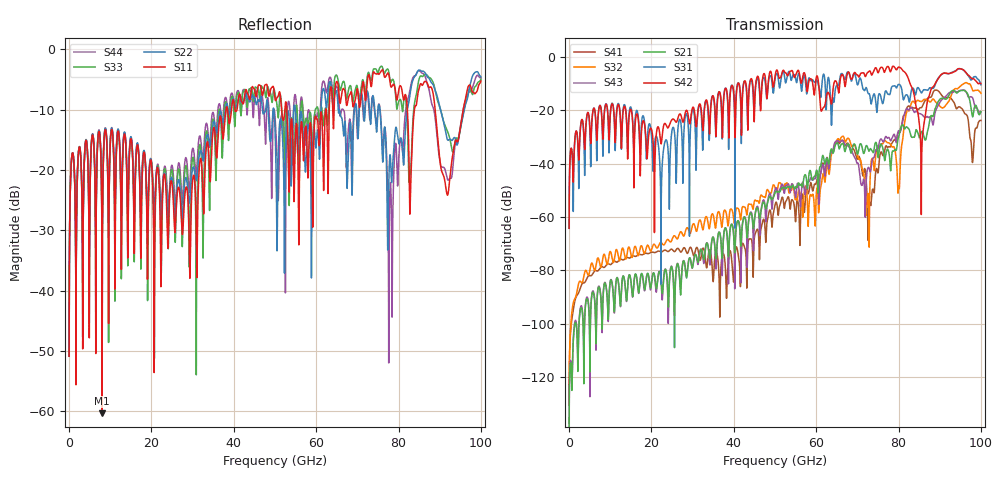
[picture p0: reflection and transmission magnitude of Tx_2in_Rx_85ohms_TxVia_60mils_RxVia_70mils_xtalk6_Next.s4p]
! Info: Touchstone file created by Circ.  Input file=Tx_2in_Rx_85ohms_TxVia_60mils_RxVia_70mils.circ
# Hz S RI R 50
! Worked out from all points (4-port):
!   10000 points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, 10 MHz to 100 GHz, reference 50 ohm
!   strongest paths, dB at 10 MHz, 25.01 GHz, 50.01 GHz, 75.01 GHz, 100 GHz:
!     S42: -64.2, -23.5, -7.3, -6.0, -10.0
!     S31: -64.2, -27.5, -8.3, -16.0, -10.4
!     S21: -139.2, -79.0, -50.9, -37.6, -20.5
!     S43: -137.2, -78.9, -49.8, -34.8, -20.8
!     S32: -130.3, -68.4, -48.9, -33.4, -13.7
!     S41: -130.3, -72.1, -55.5, -43.5, -23.8
!   lowest |S11| = -60.3 dB at 8.04 GHz (marker M1), VSWR 1.00, Z = 50.1 - j0.0372 ohm
!   |S11| at or under -10 dB: start of sweep to 38.1 GHz; 52.86 GHz to 62.29 GHz (9.435 GHz wide, 16.4 % of centre); 88.9 GHz to 95.7 GHz (6.801 GHz wide, 7.37 % of centre)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
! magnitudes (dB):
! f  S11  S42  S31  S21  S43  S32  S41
! 10 MHz  -50.9  -64.2  -64.2  -139.2  -137.2  -130.3  -130.3
! 8.04 GHz  -60.3  -25.1  -26.1  -101.3  -103.1  -76.9  -78.6
! 39.86 GHz  -8.3  -11.8  -12.3  -64.9  -64.6  -59.4  -83.4
! 66.32 GHz  -6.9  -6.6  -6.3  -32.5  -31.3  -29.8  -31.2
! 72.47 GHz  -5.0  -5.9  -13.0  -33.9  -42.0  -51.7  -58.1
! 82.28 GHz  -11.8  -7.7  -14.8  -26.6  -19.7  -19.9  -18.6
! 100 GHz  -5.2  -10.0  -10.4  -20.5  -20.8  -13.7  -23.8
